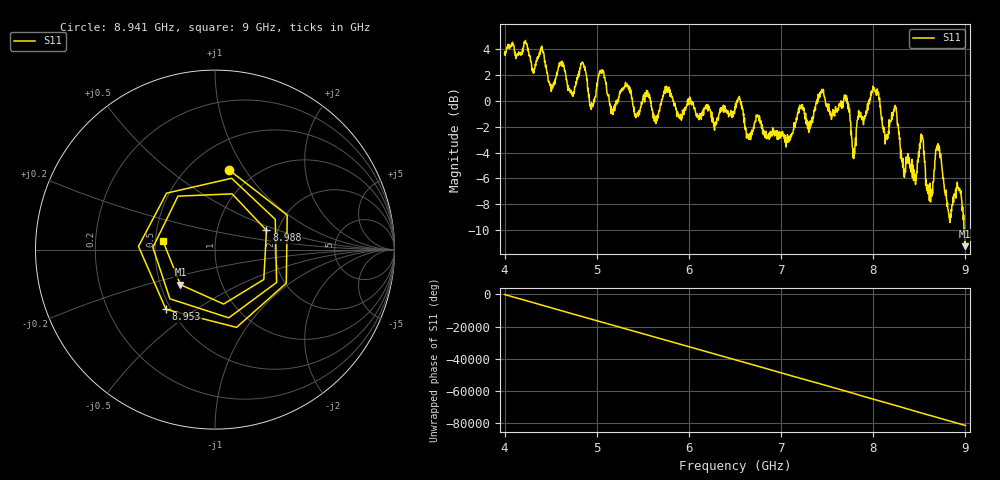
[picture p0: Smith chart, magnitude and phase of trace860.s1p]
! Created with skrf 1.8.0 (http://scikit-rf.org).
# Hz S RI R 50.0
!freq ReS11 ImS11
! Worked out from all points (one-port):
!   1601 points, 4 GHz to 9 GHz, reference 50 ohm
!   lowest |S11| = -11.2 dB at 8.997 GHz (marker M1), VSWR 1.76, Z = 31.7 - j13.4 ohm
!   |S11| at or under -10 dB: 8.985809 GHz to 8.990386 GHz (4.577 MHz wide, 0.0509 % of centre); 8.991665 GHz to end of sweep
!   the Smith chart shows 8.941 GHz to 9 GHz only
!   S11 on the Smith chart (normalised r, x): 8.941 GHz: 0.76, +0.85; 8.953 GHz: 0.47, -0.38; 8.988 GHz: 1.74, +0.41; 9 GHz: 0.55, +0.06
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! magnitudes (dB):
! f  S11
! 4 GHz  3.7
! 4.403 GHz  4.2
! 4.512 GHz  1.2
! 4.625 GHz  2.7
! 4.731 GHz  0.7
! 4.853 GHz  2.8
! 4.944 GHz  -0.2
! 5.05 GHz  2.2
! 5.162 GHz  -0.7
! 5.25 GHz  0.7
! 5.875 GHz  -0.9
! 6.5 GHz  -0.5
! 7.125 GHz  -2.5
! 7.444 GHz  0.8
! 7.75 GHz  -1.6
! 7.791 GHz  -4.1
! 8.022 GHz  0.7
! 8.375 GHz  -4.1
! 8.45 GHz  -6.1
! 8.528 GHz  -2.9
! 8.619 GHz  -7.4
! 8.7 GHz  -3.6
! 8.825 GHz  -9.1
! 8.941 GHz  -6.9
! 8.953 GHz  -7.3
! 8.988 GHz  -10.3
! 8.997 GHz  -11.2
! 9 GHz  -10.6
